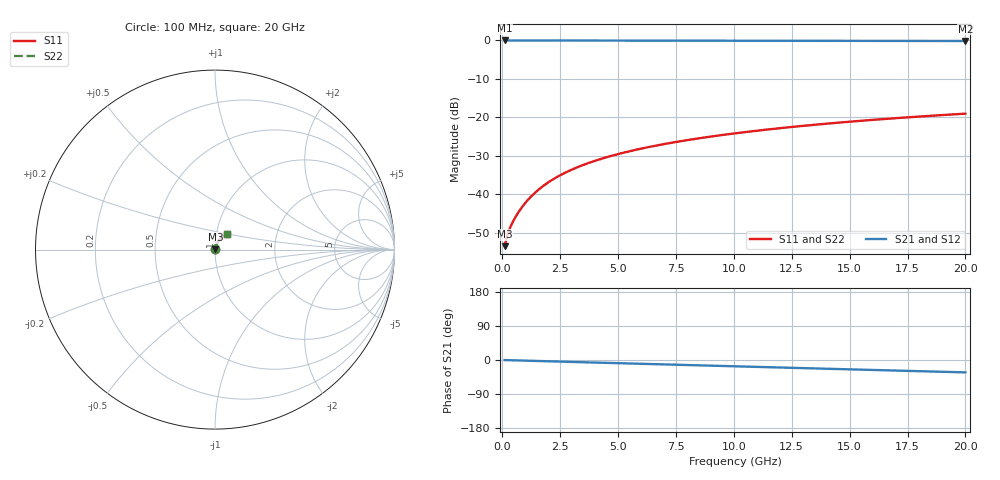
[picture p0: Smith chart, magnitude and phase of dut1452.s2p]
! Touchstone file exported from HFSS 2026.1.0
!  File:  C:/ffzhzh/LocalFiles/Ansys_Project_Files/temp_train_BSMRDL_1452_1783180729_18472.aedt
!  Generated:  12:00:07 AM Jul  5, 2026
!  Design:  BSMRDL
!  Project:  temp_train_BSMRDL_1452_1783180729_18472
! Variables:
!  h_bsmrdl = 4.49um
!  h_ox = 20um
!  h_rdl = 5um
!  h_sub = 80um
!  h_tmrdl = 5um
!  h_tsv = 80um
!  h_via = 3um
!  l_bsmrdl = 558.29um
!  l_sub = 958.29um
!  l_tmrdl = 200um
!  m_sub = 200um
!  pitch = 38.05um
!  r_tsv = 6um
!  s_tmrdl = 10um
!  w_bsmrdl = 28.74um
!  w_sub = 500um
!  w_tmrdl = 12um
!  x_tsv_center1 = 206um
!  x_tsv_center2 = 793.03um
!  x_tsv_center3 = 1005.03um
!  x_tsv_center4 = 1592.06um
!  x_tsv_center5 = 1804.06um
!  x_tsv_center6 = 2391.09um
# GHz S MA R 50.000000
! Terminal data exported
! Port[1] = BSM_RDL1_1_T1
! Port[2] = BSM_RDL1_1_T2
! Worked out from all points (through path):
!   200 points, 100 MHz to 20 GHz, reference 50 ohm
!   highest |S21| = -0.02 dB at 100 MHz (marker M1); lowest = -0.2 dB at 20 GHz (marker M2)
!   group delay of S21, straight-line fit = 4.53 ps
!   lowest |S11| = -53.6 dB at 100 MHz (marker M3), VSWR 1.00, Z = 50.2 + j0.104 ohm
!   |S11| at or under -10 dB: start of sweep to end of sweep
!   |S22| runs from -53.6 to -19.1 dB; largest |S21 - S12| = 2.1e-15
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0.1  0.0021 29.6  0.9982 -0.2  0.9982 -0.2  0.0021 29.6
! Gamma 0 0 0 0
! Port Impedance 50 0 50 0
0.2  0.002797 41.6  0.9979 -0.4  0.9979 -0.4  0.002797 41.6
0.3  0.00343 47.9  0.9977 -0.5  0.9977 -0.5  0.00343 47.9
0.4  0.004022 52.6  0.9976 -0.7  0.9976 -0.7  0.004021 52.6
0.5  0.004609 56.4  0.9975 -0.9  0.9975 -0.9  0.004608 56.4
0.8  0.006441 64.2  0.9973 -1.4  0.9973 -1.4  0.006441 64.2
1  0.007718 67.4  0.9972 -1.7  0.9972 -1.7  0.007718 67.4
1.2  0.009021 69.5  0.9971 -2.1  0.9971 -2.1  0.00902 69.5
1.4  0.01034 71.0  0.997 -2.4  0.997 -2.4  0.01034 71.0
1.7  0.01232 72.4  0.9968 -2.9  0.9968 -2.9  0.01232 72.5
2.2  0.01562 73.6  0.9965 -3.7  0.9965 -3.7  0.01562 73.6
2.8  0.01952 73.9  0.996 -4.7  0.996 -4.7  0.01952 73.9
3.5  0.02398 73.6  0.9954 -5.9  0.9954 -5.9  0.02397 73.7
4.2  0.02832 73.0  0.9948 -7.1  0.9948 -7.1  0.02832 73.1
5  0.03317 72.2  0.994 -8.4  0.994 -8.4  0.03316 72.2
5.9  0.03848 71.1  0.9932 -9.9  0.9932 -9.9  0.03848 71.1
6.8  0.04368 69.9  0.9924 -11.4  0.9924 -11.4  0.04368 70.0
8.3  0.05214 68.0  0.9912 -13.8  0.9912 -13.8  0.05212 68.1
10.1  0.06199 65.6  0.9898 -16.7  0.9898 -16.7  0.06197 65.7
13.4  0.07938 61.0  0.9872 -22.1  0.9872 -22.1  0.07935 61.1
16.7  0.09587 56.2  0.9847 -27.4  0.9847 -27.4  0.09583 56.4
20  0.1113 51.4  0.9822 -32.7  0.9822 -32.7  0.1113 51.6
